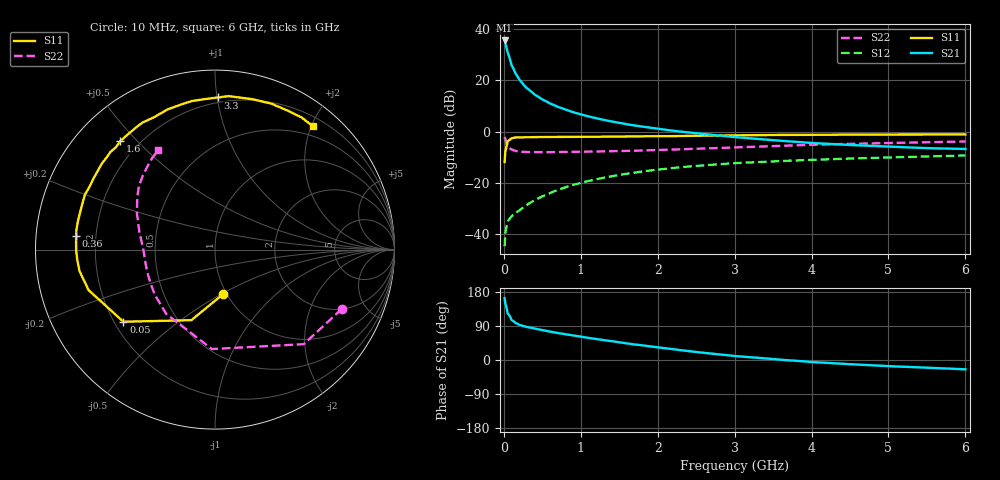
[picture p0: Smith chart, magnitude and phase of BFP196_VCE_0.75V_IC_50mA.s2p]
! Infineon Technologies  Discrete & RF Semiconductors
! BFP196
! VCE = 0.75V,  IC =  50mA
! Common Emitter S-Parameters:  Jan 2016
# GHz  S  MA  R  50
!  f  S11  S21  S12  S22
! GHz  MAG  ANG  MAG  ANG  MAG  ANG  MAG  ANG
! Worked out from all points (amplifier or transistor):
!   210 points, 10 MHz to 6 GHz, reference 50 ohm
!   highest |S21| = 35.6 dB at 10 MHz (marker M1)
!   |S21| within 3 dB of that: start of sweep to 35.76 MHz
!   unconditionally stable (mu >= 1): 355.6 MHz to end of sweep
!   at 185 MHz: K = 0.79, MSG = 26.2 dB, |S12| = -31.2 dB
!   at 1.52 GHz: K = 1.12, MAG = 8.0 dB, |S12| = -16.9 dB
!   at 6 GHz: K = 1.04, MAG = 0.1 dB, |S12| = -9.4 dB
!   S11 on the Smith chart (normalised r, x): 10 MHz: 0.96, -0.51; 50 MHz: 0.24, -0.33; 360 MHz: 0.13, +0.05; 1.6 GHz: 0.13, +0.45; 3.3 GHz: 0.17, +1.01; 6 GHz: 0.34, +2.02
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0.01  0.2524 -79.7  60.58 163.4  0.0057 72.7  0.7799 -25.1
0.02  0.4144 -108.5  53.6 148.4  0.0104 62.3  0.7227 -46.8
0.05  0.6498 -141.8  35.25 122.7  0.0175 46.0  0.5543 -91.8
0.1  0.7396 -162.2  20.14 105.6  0.0219 42.8  0.4495 -127.2
0.15  0.7645 -171.1  13.85 97.9  0.0253 45.1  0.4191 -143.2
0.2  0.7697 -176.0  10.5 93.0  0.0285 48.9  0.4055 -152.3
0.24  0.7726 -178.9  8.816 90.5  0.0318 51.4  0.4005 -157.2
0.26  0.7737 179.8  8.123 89.2  0.0334 52.5  0.399 -159.2
0.3  0.7751 177.3  7.027 87.0  0.0367 54.8  0.3967 -162.2
0.36  0.7773 174.2  5.989 84.7  0.0418 57.2  0.3951 -165.6
0.4  0.78 172.1  5.304 82.7  0.0452 58.5  0.3948 -167.8
0.5  0.78 168.1  4.248 78.8  0.0537 60.3  0.3939 -171.5
0.6  0.7803 164.3  3.549 74.9  0.0626 61.0  0.3944 -174.1
0.8  0.7868 157.0  2.68 68.0  0.081 60.5  0.3978 -177.9
1.02  0.7846 149.1  2.122 61.0  0.1006 59.0  0.4019 178.6
1.6  0.8019 131.1  1.384 43.8  0.1492 51.3  0.4186 171.3
2.02  0.8142 119.2  1.124 32.9  0.181 44.7  0.4355 165.9
3.1  0.8413 92.8  0.757 9.0  0.2443 28.0  0.4952 151.3
3.3  0.8479 88.9  0.715 5.8  0.2525 25.0  0.5077 148.7
4.1  0.8639 74.7  0.586 -6.4  0.2824 14.8  0.5564 138.9
5.1  0.8741 61.6  0.499 -17.1  0.3136 3.7  0.599 128.7
6  0.8778 51.6  0.455 -24.6  0.3394 -6.3  0.6377 119.8
